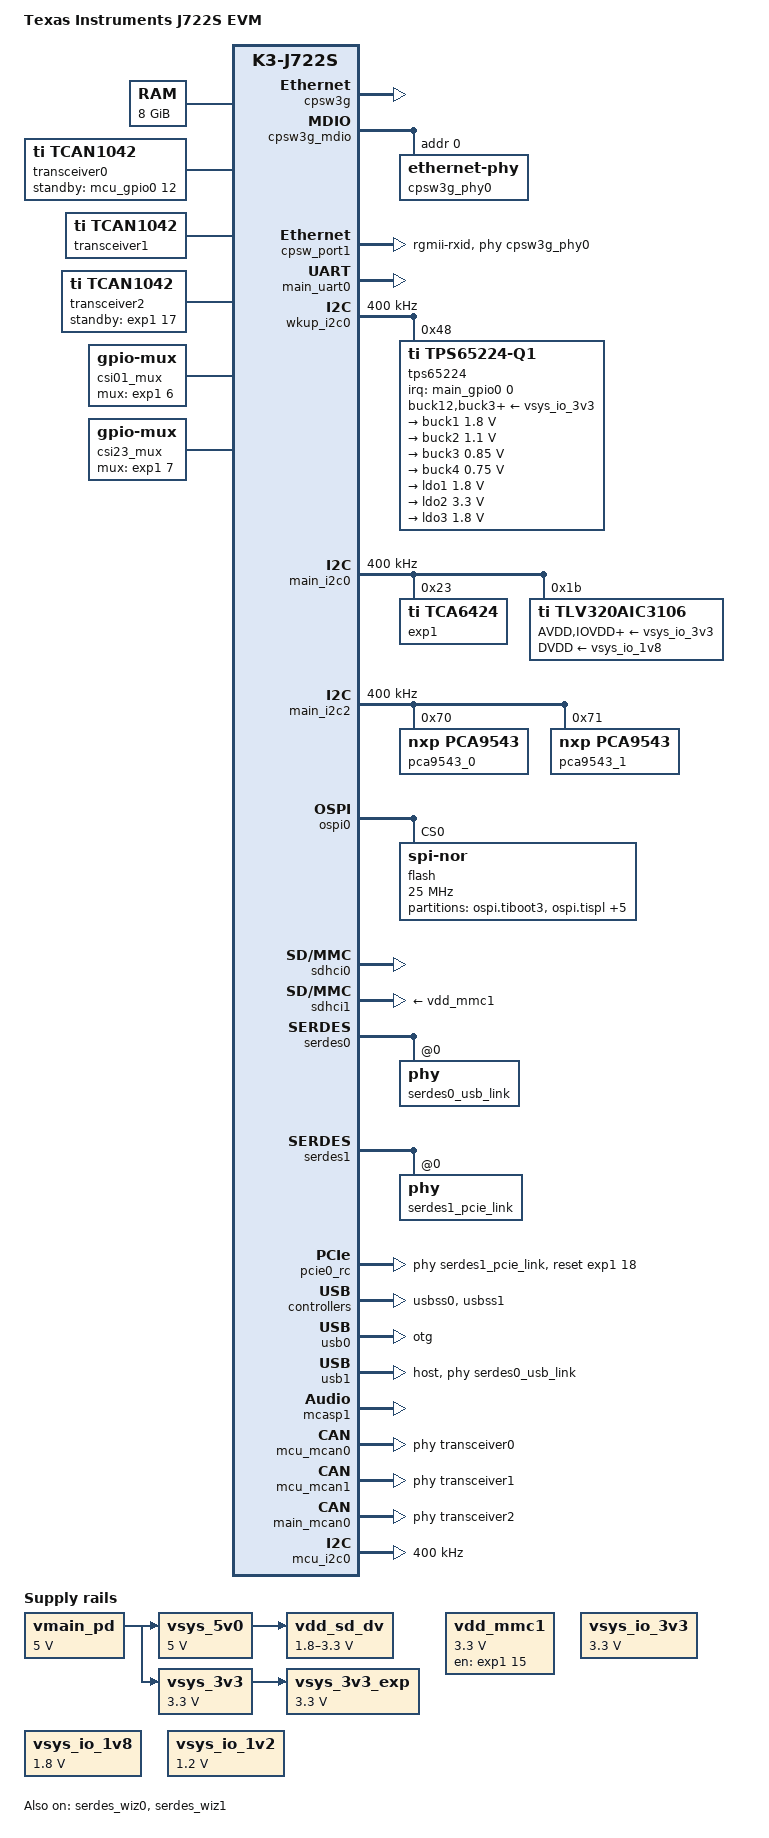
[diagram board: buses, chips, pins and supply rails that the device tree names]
// SPDX-License-Identifier: GPL-2.0-only OR MIT
/*
 * Device Tree file for the J722S EVM
 * Copyright (C) 2024 Texas Instruments Incorporated - https://www.ti.com/
 *
 * Schematics: https://www.ti.com/lit/zip/sprr495
 */

/dts-v1/;

#include <dt-bindings/net/ti-dp83867.h>
#include <dt-bindings/phy/phy.h>
#include "k3-j722s.dtsi"
#include "k3-serdes.h"

/ {
	compatible = "ti,j722s-evm", "ti,j722s";
	model = "Texas Instruments J722S EVM";

	aliases {
		serial0 = &wkup_uart0;
		serial2 = &main_uart0;
		serial3 = &main_uart5;
		mmc0 = &sdhci0;
		mmc1 = &sdhci1;
	};

	chosen {
		stdout-path = &main_uart0;
	};

	memory@80000000 {
		/* 8G RAM */
		reg = <0x00000000 0x80000000 0x00000000 0x80000000>,
		      <0x00000008 0x80000000 0x00000001 0x80000000>;
		device_type = "memory";
		bootph-pre-ram;
	};

	reserved_memory: reserved-memory {
		#address-cells = <2>;
		#size-cells = <2>;
		ranges;

		secure_tfa_ddr: tfa@9e780000 {
			reg = <0x00 0x9e780000 0x00 0x80000>;
			no-map;
		};

		secure_ddr: optee@9e800000 {
			reg = <0x00 0x9e800000 0x00 0x01800000>;
			no-map;
		};

		wkup_r5fss0_core0_dma_memory_region: memory@a0000000 {
			compatible = "shared-dma-pool";
			reg = <0x00 0xa0000000 0x00 0x100000>;
			no-map;
		};

		wkup_r5fss0_core0_memory_region: memory@a0100000 {
			compatible = "shared-dma-pool";
			reg = <0x00 0xa0100000 0x00 0xf00000>;
			no-map;
		};
	};

	vmain_pd: regulator-0 {
		/* TPS65988 PD CONTROLLER OUTPUT */
		compatible = "regulator-fixed";
		regulator-name = "vmain_pd";
		regulator-min-microvolt = <5000000>;
		regulator-max-microvolt = <5000000>;
		regulator-always-on;
		regulator-boot-on;
		bootph-all;
	};

	vsys_5v0: regulator-vsys5v0 {
		/* Output of LM5140 */
		compatible = "regulator-fixed";
		regulator-name = "vsys_5v0";
		regulator-min-microvolt = <5000000>;
		regulator-max-microvolt = <5000000>;
		vin-supply = <&vmain_pd>;
		regulator-always-on;
		regulator-boot-on;
	};

	vsys_3v3: regulator-vsys3v3 {
		/* output of LM5141-Q1 */
		compatible = "regulator-fixed";
		regulator-name = "vsys_3v3";
		regulator-min-microvolt = <3300000>;
		regulator-max-microvolt = <3300000>;
		vin-supply = <&vmain_pd>;
		regulator-always-on;
		regulator-boot-on;
	};

	vdd_mmc1: regulator-mmc1 {
		/* TPS22918DBVR */
		compatible = "regulator-fixed";
		regulator-name = "vdd_mmc1";
		regulator-min-microvolt = <3300000>;
		regulator-max-microvolt = <3300000>;
		regulator-boot-on;
		enable-active-high;
		gpio = <&exp1 15 GPIO_ACTIVE_HIGH>;
		bootph-all;
	};

	vsys_3v3_exp: regulator-TPS22990 {
		/* output of TPS22990 */
		compatible = "regulator-fixed";
		regulator-name = "vsys_3v3_exp";
		regulator-min-microvolt = <3300000>;
		regulator-max-microvolt = <3300000>;
		vin-supply = <&vsys_3v3>;
		regulator-always-on;
		regulator-boot-on;
	};

	vdd_sd_dv: regulator-TLV71033 {
		compatible = "regulator-gpio";
		regulator-name = "tlv71033";
		pinctrl-names = "default";
		pinctrl-0 = <&vdd_sd_dv_pins_default>;
		regulator-min-microvolt = <1800000>;
		regulator-max-microvolt = <3300000>;
		regulator-boot-on;
		vin-supply = <&vsys_5v0>;
		gpios = <&main_gpio0 70 GPIO_ACTIVE_HIGH>;
		states = <1800000 0x0>,
			 <3300000 0x1>;
	};

	vsys_io_3v3: regulator-vsys-io-3v3 {
		compatible = "regulator-fixed";
		regulator-name = "vsys_io_3v3";
		regulator-min-microvolt = <3300000>;
		regulator-max-microvolt = <3300000>;
		regulator-always-on;
		regulator-boot-on;
	};

	vsys_io_1v8: regulator-vsys-io-1v8 {
		compatible = "regulator-fixed";
		regulator-name = "vsys_io_1v8";
		regulator-min-microvolt = <1800000>;
		regulator-max-microvolt = <1800000>;
		regulator-always-on;
		regulator-boot-on;
	};

	vsys_io_1v2: regulator-vsys-io-1v2 {
		compatible = "regulator-fixed";
		regulator-name = "vsys_io_1v2";
		regulator-min-microvolt = <1200000>;
		regulator-max-microvolt = <1200000>;
		regulator-always-on;
		regulator-boot-on;
	};

	codec_audio: sound {
		compatible = "simple-audio-card";
		simple-audio-card,name = "J722S-EVM";
		simple-audio-card,widgets =
			"Headphone",	"Headphone Jack",
			"Line",		"Line In",
			"Microphone",	"Microphone Jack";
		simple-audio-card,routing =
			"Headphone Jack",	"HPLOUT",
			"Headphone Jack",	"HPROUT",
			"LINE1L",		"Line In",
			"LINE1R",		"Line In",
			"MIC3R",		"Microphone Jack",
			"Microphone Jack",	"Mic Bias";
		simple-audio-card,format = "dsp_b";
		simple-audio-card,bitclock-master = <&sound_master>;
		simple-audio-card,frame-master = <&sound_master>;
		simple-audio-card,bitclock-inversion;

		simple-audio-card,cpu {
			sound-dai = <&mcasp1>;
		};

		sound_master: simple-audio-card,codec {
			sound-dai = <&tlv320aic3106>;
			clocks = <&audio_refclk1>;
		};
	};

	transceiver0: can-phy0 {
		compatible = "ti,tcan1042";
		#phy-cells = <0>;
		max-bitrate = <5000000>;
		pinctrl-names = "default";
		pinctrl-0 = <&mcu_mcan0_gpio_pins_default>;
		standby-gpios = <&mcu_gpio0 12 GPIO_ACTIVE_HIGH>;
	};

	transceiver1: can-phy1 {
		compatible = "ti,tcan1042";
		#phy-cells = <0>;
		max-bitrate = <5000000>;
	};

	transceiver2: can-phy2 {
		compatible = "ti,tcan1042";
		#phy-cells = <0>;
		max-bitrate = <5000000>;
		standby-gpios = <&exp1 17 GPIO_ACTIVE_HIGH>;
	};

	csi01_mux: mux-controller-0 {
		compatible = "gpio-mux";
		#mux-state-cells = <1>;
		mux-gpios = <&exp1 6 GPIO_ACTIVE_HIGH>;
		idle-state = <0>;
	};

	csi23_mux: mux-controller-1 {
		compatible = "gpio-mux";
		#mux-state-cells = <1>;
		mux-gpios = <&exp1 7 GPIO_ACTIVE_HIGH>;
		idle-state = <0>;
	};
};

&cpsw_mac_syscon {
	bootph-all;
};

&phy_gmii_sel {
	bootph-all;
};

&main_pmx0 {

	main_mcan0_pins_default: main-mcan0-default-pins {
		pinctrl-single,pins = <
			J722S_IOPAD(0x1dc, PIN_INPUT, 0) /* (C22) MCAN0_RX */
			J722S_IOPAD(0x1d8, PIN_OUTPUT, 0) /*(D22) MCAN0_TX */
		>;
	};

	main_i2c0_pins_default: main-i2c0-default-pins {
		pinctrl-single,pins = <
			J722S_IOPAD(0x01e0, PIN_INPUT_PULLUP, 0) /* (D23) I2C0_SCL */
			J722S_IOPAD(0x01e4, PIN_INPUT_PULLUP, 0) /* (B22) I2C0_SDA */
		>;
		bootph-all;
	};

	main_i2c2_pins_default: main-i2c2-default-pins {
		pinctrl-single,pins = <
			J722S_IOPAD(0x00b0, PIN_INPUT_PULLUP, 1) /* (P22) GPMC0_CSn2.I2C2_SCL */
			J722S_IOPAD(0x00b4, PIN_INPUT_PULLUP, 1) /* (P23) GPMC0_CSn3.I2C2_SDA */
		>;
	};

	main_uart0_pins_default: main-uart0-default-pins {
		pinctrl-single,pins = <
			J722S_IOPAD(0x01c8, PIN_INPUT, 0)	/* (A22) UART0_RXD */
			J722S_IOPAD(0x01cc, PIN_OUTPUT, 0)	/* (B22) UART0_TXD */
		>;
		bootph-all;
	};

	main_uart5_pins_default: main-uart5-default-pins {
		pinctrl-single,pins = <
			J722S_IOPAD(0x0108, PIN_INPUT, 3)       /* (J27) UART5_RXD */
			J722S_IOPAD(0x010c, PIN_OUTPUT, 3)      /* (H27) UART5_TXD */
		>;
	};

	vdd_sd_dv_pins_default: vdd-sd-dv-default-pins {
		pinctrl-single,pins = <
			J722S_IOPAD(0x0120, PIN_INPUT, 7) /* (F27) MMC2_CMD.GPIO0_70 */
		>;
		bootph-all;
	};

	main_mmc1_pins_default: main-mmc1-default-pins {
		pinctrl-single,pins = <
			J722S_IOPAD(0x023c, PIN_INPUT, 0) /* (H22) MMC1_CMD */
			J722S_IOPAD(0x0234, PIN_OUTPUT, 0) /* (H24) MMC1_CLK */
			J722S_IOPAD(0x0230, PIN_INPUT, 0) /* (H23) MMC1_DAT0 */
			J722S_IOPAD(0x022c, PIN_INPUT_PULLUP, 0) /* (H20) MMC1_DAT1 */
			J722S_IOPAD(0x0228, PIN_INPUT_PULLUP, 0) /* (J23) MMC1_DAT2 */
			J722S_IOPAD(0x0224, PIN_INPUT_PULLUP, 0) /* (H25) MMC1_DAT3 */
			J722S_IOPAD(0x0240, PIN_INPUT, 0) /* (B24) MMC1_SDCD */
		>;
		bootph-all;
	};

	mdio_pins_default: mdio-default-pins {
		pinctrl-single,pins = <
			J722S_IOPAD(0x0160, PIN_OUTPUT, 0) /* (AC24) MDIO0_MDC */
			J722S_IOPAD(0x015c, PIN_INPUT, 0) /* (AD25) MDIO0_MDIO */
		>;
		bootph-all;
	};

	ospi0_pins_default: ospi0-default-pins {
		pinctrl-single,pins = <
			J722S_IOPAD(0x0000, PIN_OUTPUT, 0) /* (L24) OSPI0_CLK */
			J722S_IOPAD(0x002c, PIN_OUTPUT, 0) /* (K26) OSPI0_CSn0 */
			J722S_IOPAD(0x000c, PIN_INPUT, 0) /* (K27) OSPI0_D0 */
			J722S_IOPAD(0x0010, PIN_INPUT, 0) /* (L27) OSPI0_D1 */
			J722S_IOPAD(0x0014, PIN_INPUT, 0) /* (L26) OSPI0_D2 */
			J722S_IOPAD(0x0018, PIN_INPUT, 0) /* (L25) OSPI0_D3 */
			J722S_IOPAD(0x001c, PIN_INPUT, 0) /* (L21) OSPI0_D4 */
			J722S_IOPAD(0x0020, PIN_INPUT, 0) /* (M26) OSPI0_D5 */
			J722S_IOPAD(0x0024, PIN_INPUT, 0) /* (N27) OSPI0_D6 */
			J722S_IOPAD(0x0028, PIN_INPUT, 0) /* (M27) OSPI0_D7 */
			J722S_IOPAD(0x0008, PIN_INPUT, 0) /* (L22) OSPI0_DQS */
		>;
		bootph-all;
	};

	rgmii1_pins_default: rgmii1-default-pins {
		pinctrl-single,pins = <
			J722S_IOPAD(0x014c, PIN_INPUT, 0) /* (AC25) RGMII1_RD0 */
			J722S_IOPAD(0x0150, PIN_INPUT, 0) /* (AD27) RGMII1_RD1 */
			J722S_IOPAD(0x0154, PIN_INPUT, 0) /* (AE24) RGMII1_RD2 */
			J722S_IOPAD(0x0158, PIN_INPUT, 0) /* (AE26) RGMII1_RD3 */
			J722S_IOPAD(0x0148, PIN_INPUT, 0) /* (AE27) RGMII1_RXC */
			J722S_IOPAD(0x0144, PIN_INPUT, 0) /* (AD23) RGMII1_RX_CTL */
			J722S_IOPAD(0x0134, PIN_OUTPUT, 0) /* (AF27) RGMII1_TD0 */
			J722S_IOPAD(0x0138, PIN_OUTPUT, 0) /* (AE23) RGMII1_TD1 */
			J722S_IOPAD(0x013c, PIN_OUTPUT, 0) /* (AG25) RGMII1_TD2 */
			J722S_IOPAD(0x0140, PIN_OUTPUT, 0) /* (AF24) RGMII1_TD3 */
			J722S_IOPAD(0x0130, PIN_OUTPUT, 0) /* (AG26) RGMII1_TXC */
			J722S_IOPAD(0x012c, PIN_OUTPUT, 0) /* (AF25) RGMII1_TX_CTL */
		>;
		bootph-all;
	};

	main_usb1_pins_default: main-usb1-default-pins {
		pinctrl-single,pins = <
			J722S_IOPAD(0x0258, PIN_INPUT, 0) /* (B27) USB1_DRVVBUS */
		>;
	};

	main_mcasp1_pins_default: main-mcasp1-default-pins {
		pinctrl-single,pins = <
			J722S_IOPAD(0x0090, PIN_INPUT, 2) /* (P27) GPMC0_BE0n_CLE.MCASP1_ACLKX */
			J722S_IOPAD(0x0098, PIN_INPUT, 2) /* (V21) GPMC0_WAIT0.MCASP1_AFSX */
			J722S_IOPAD(0x008c, PIN_OUTPUT, 2) /* (N23) GPMC0_WEn.MCASP1_AXR0 */
			J722S_IOPAD(0x0084, PIN_INPUT, 2) /* (N21) GPMC0_ADVn_ALE.MCASP1_AXR2 */
		>;
	};

	audio_ext_refclk1_pins_default: audio-ext-refclk1-default-pins {
		pinctrl-single,pins = <
			J722S_IOPAD(0x00a0, PIN_OUTPUT, 1) /* (N24) GPMC0_WPn.AUDIO_EXT_REFCLK1 */
		>;
	};

	pmic_irq_pins_default: pmic-irq-default-pins {
		pinctrl-single,pins = <
			J722S_IOPAD(0x030, PIN_INPUT, 7) /* (K23) GPIO0_12 */
		>;
	};

};

&cpsw3g {
	status = "okay";
	pinctrl-names = "default";
	pinctrl-0 = <&rgmii1_pins_default>;
};

&cpsw3g_mdio {
	status = "okay";
	pinctrl-names = "default";
	pinctrl-0 = <&mdio_pins_default>;

	cpsw3g_phy0: ethernet-phy@0 {
		reg = <0>;
		bootph-all;
		ti,rx-internal-delay = <DP83867_RGMIIDCTL_2_00_NS>;
		ti,fifo-depth = <DP83867_PHYCR_FIFO_DEPTH_4_B_NIB>;
		ti,min-output-impedance;
	};
};

&cpsw_port1 {
	phy-mode = "rgmii-rxid";
	phy-handle = <&cpsw3g_phy0>;
	status = "okay";
	bootph-all;
};

&main_gpio1 {
	status = "okay";
};

&main_uart0 {
	pinctrl-names = "default";
	pinctrl-0 = <&main_uart0_pins_default>;
	status = "okay";
	bootph-all;
};

&main_uart5 {
	/* MAIN UART 5 is used by System firmware */
	pinctrl-names = "default";
	pinctrl-0 = <&main_uart5_pins_default>;
	status = "reserved";
};

&mcu_pmx0 {

	mcu_i2c0_pins_default: mcu-i2c0-default-pins {
		pinctrl-single,pins = <
			J722S_MCU_IOPAD(0x048, PIN_INPUT, 0) /* (E11) MCU_I2C0_SDA */
			J722S_MCU_IOPAD(0x044, PIN_INPUT, 0) /* (B13) MCU_I2C0_SCL */
		>;
	};

	mcu_mcan0_pins_default: mcu-mcan0-default-pins {
		pinctrl-single,pins = <
			J722S_MCU_IOPAD(0x038, PIN_INPUT, 0) /* (D8) MCU_MCAN0_RX */
			J722S_MCU_IOPAD(0x034, PIN_OUTPUT, 0) /* (B2) MCU_MCAN0_TX */
		>;
	};

	mcu_mcan1_pins_default: mcu-mcan1-default-pins {
		pinctrl-single,pins = <
			J722S_MCU_IOPAD(0x040, PIN_INPUT, 0) /* (B1) MCU_MCAN1_RX */
			J722S_MCU_IOPAD(0x03C, PIN_OUTPUT, 0) /*(C1) MCU_MCAN1_TX */
		>;
	};

	mcu_mcan0_gpio_pins_default: mcu-mcan0-gpio-default-pins {
		pinctrl-single,pins = <
			J722S_MCU_IOPAD(0x0030, PIN_OUTPUT, 7) /* (C3) MCU_GPIO0_12 */
		>;
	};

	wkup_uart0_pins_default: wkup-uart0-default-pins {
		pinctrl-single,pins = <
			J722S_MCU_IOPAD(0x02c, PIN_INPUT, 0)	/* (C7) WKUP_UART0_CTSn */
			J722S_MCU_IOPAD(0x030, PIN_OUTPUT, 0)	/* (C6) WKUP_UART0_RTSn */
			J722S_MCU_IOPAD(0x024, PIN_INPUT, 0)	/* (D8) WKUP_UART0_RXD */
			J722S_MCU_IOPAD(0x028, PIN_OUTPUT, 0)	/* (D7) WKUP_UART0_TXD */
		>;
		bootph-all;
	};

	wkup_i2c0_pins_default: wkup-i2c0-default-pins {
		pinctrl-single,pins = <
			J722S_MCU_IOPAD(0x04c, PIN_INPUT_PULLUP, 0)	/* (C7) WKUP_I2C0_SCL */
			J722S_MCU_IOPAD(0x050, PIN_INPUT_PULLUP, 0)	/* (C6) WKUP_I2C1_SDA */
		>;
		bootph-all;
	};
};

&wkup_uart0 {
	/* WKUP UART0 is used by Device Manager firmware */
	pinctrl-names = "default";
	pinctrl-0 = <&wkup_uart0_pins_default>;
	status = "reserved";
	bootph-all;
};

&wkup_i2c0 {
	pinctrl-names = "default";
	pinctrl-0 = <&wkup_i2c0_pins_default>;
	clock-frequency = <400000>;
	status = "okay";
	bootph-all;

	tps65224: pmic@48 {
		compatible = "ti,tps65224-q1";
		reg = <0x48>;
		pinctrl-names = "default";
		pinctrl-0 = <&pmic_irq_pins_default>;
		interrupt-parent = <&main_gpio0>;
		interrupts = <0 IRQ_TYPE_EDGE_FALLING>;
		ti,primary-pmic;

		gpio-controller;
		#gpio-cells = <2>;

		buck12-supply = <&vsys_io_3v3>;
		buck3-supply = <&vsys_io_3v3>;
		buck4-supply = <&vsys_io_3v3>;

		ldo1-supply = <&vsys_io_3v3>;
		ldo2-supply = <&vsys_io_3v3>;
		ldo3-supply = <&vsys_io_3v3>;

		regulators {

			buck1: buck1 {
				regulator-name = "vcc1v8_io_buck1";
				regulator-min-microvolt = <1800000>;
				regulator-max-microvolt = <1800000>;
				regulator-boot-on;
				regulator-always-on;
				bootph-all;
			};

			buck2: buck2 {
				regulator-name = "vcc1v1_ddr_buck2";
				regulator-min-microvolt = <1100000>;
				regulator-max-microvolt = <1100000>;
				regulator-boot-on;
				regulator-always-on;
			};

			buck3: buck3 {
				regulator-name = "vcc0v85_ram_buck3";
				regulator-min-microvolt = <850000>;
				regulator-max-microvolt = <850000>;
				regulator-boot-on;
				regulator-always-on;
			};

			buck4: buck4 {
				regulator-name = "vcc0v75_ioret_buck4";
				regulator-min-microvolt = <750000>;
				regulator-max-microvolt = <750000>;
				regulator-boot-on;
				regulator-always-on;
			};

			ldo1: ldo1 {
				regulator-name = "vdda1v8_pll_ldo1";
				regulator-min-microvolt = <1800000>;
				regulator-max-microvolt = <1800000>;
				regulator-boot-on;
				regulator-always-on;
			};

			ldo2: ldo2 {
				regulator-name = "dvdd3v3_ldo2";
				regulator-min-microvolt = <3300000>;
				regulator-max-microvolt = <3300000>;
				regulator-boot-on;
				regulator-always-on;
			};

			ldo3: ldo3 {
				regulator-name = "vdd1v85_phy_ldo3";
				regulator-min-microvolt = <1800000>;
				regulator-max-microvolt = <1800000>;
				regulator-boot-on;
				regulator-always-on;
			};
	       };
	};
};

&k3_clks {
	/* Configure AUDIO_EXT_REFCLK1 pin as output */
	pinctrl-names = "default";
	pinctrl-0 = <&audio_ext_refclk1_pins_default>;
};

&main_i2c0 {
	pinctrl-names = "default";
	pinctrl-0 = <&main_i2c0_pins_default>;
	clock-frequency = <400000>;
	status = "okay";
	bootph-all;

	exp1: gpio@23 {
		compatible = "ti,tca6424";
		reg = <0x23>;
		gpio-controller;
		#gpio-cells = <2>;
		gpio-line-names = "TRC_MUX_SEL", "OSPI/ONAND_MUX_SEL",
				  "MCASP1_FET_SEL", "CTRL_PM_I2C_OE#",
				  "CSI_VIO_SEL", "USB2.0_MUX_SEL",
				  "CSI01_MUX_SEL_2", "CSI23_MUX_SEL_2",
				  "LMK1_OE1", "LMK1_OE0",
				  "LMK2_OE0", "LMK2_OE1",
				  "GPIO_RGMII1_RST#", "GPIO_AUD_RSTn",
				  "GPIO_eMMC_RSTn", "GPIO_uSD_PWR_EN",
				  "USER_LED2", "MCAN0_STB",
				  "PCIe0_1L_RC_RSTz", "PCIe0_1L_PRSNT#",
				  "ENET1_EXP_SPARE2", "ENET1_EXP_PWRDN",
				  "PD_I2ENET1_I2CMUX_SELC_IRQ", "ENET1_EXP_RESETZ";

		p05-hog {
			/* P05 - USB2.0_MUX_SEL */
			gpio-hog;
			gpios = <5 GPIO_ACTIVE_LOW>;
			output-low;
		};

		p01_hog: p01-hog {
			/* P01 - TRC_MUX_SEL */
			gpio-hog;
			gpios = <0 GPIO_ACTIVE_HIGH>;
			output-low;
			line-name = "TRC_MUX_SEL";
		};

		p02_hog: p02-hog {
			/* P02 - MCASP1_FET_SEL */
			gpio-hog;
			gpios = <2 GPIO_ACTIVE_HIGH>;
			output-high;
			line-name = "MCASP1_FET_SEL";
		};

		p13_hog: p13-hog {
			/* P13 - GPIO_AUD_RSTn */
			gpio-hog;
			gpios = <13 GPIO_ACTIVE_HIGH>;
			output-high;
			line-name = "GPIO_AUD_RSTn";
		};
	};

	tlv320aic3106: audio-codec@1b {
		#sound-dai-cells = <0>;
		compatible = "ti,tlv320aic3106";
		reg = <0x1b>;
		ai3x-micbias-vg = <1>;  /* 2.0V */
		AVDD-supply = <&vsys_io_3v3>;
		IOVDD-supply = <&vsys_io_3v3>;
		DRVDD-supply = <&vsys_io_3v3>;
		DVDD-supply = <&vsys_io_1v8>;
	};
};

&main_i2c2 {
	status = "okay";
	pinctrl-names = "default";
	pinctrl-0 = <&main_i2c2_pins_default>;
	clock-frequency = <400000>;

	pca9543_0: i2c-mux@70 {
		compatible = "nxp,pca9543";
		#address-cells = <1>;
		#size-cells = <0>;
		reg = <0x70>;
	};

	pca9543_1: i2c-mux@71 {
		compatible = "nxp,pca9543";
		#address-cells = <1>;
		#size-cells = <0>;
		reg = <0x71>;
	};
};

&ospi0 {
	pinctrl-names = "default";
	pinctrl-0 = <&ospi0_pins_default>;
	status = "okay";

	flash@0 {
		compatible = "jedec,spi-nor";
		reg = <0x0>;
		spi-tx-bus-width = <8>;
		spi-rx-bus-width = <8>;
		spi-max-frequency = <25000000>;
		cdns,tshsl-ns = <60>;
		cdns,tsd2d-ns = <60>;
		cdns,tchsh-ns = <60>;
		cdns,tslch-ns = <60>;
		cdns,read-delay = <4>;
		bootph-all;

		partitions {
			compatible = "fixed-partitions";
			#address-cells = <1>;
			#size-cells = <1>;

			partition@0 {
				label = "ospi.tiboot3";
				reg = <0x00 0x80000>;
			};

			partition@80000 {
				label = "ospi.tispl";
				reg = <0x80000 0x200000>;
			};

			partition@280000 {
				label = "ospi.u-boot";
				reg = <0x280000 0x400000>;
			};

			partition@680000 {
				label = "ospi.env";
				reg = <0x680000 0x40000>;
			};

			partition@6c0000 {
				label = "ospi.env.backup";
				reg = <0x6c0000 0x40000>;
			};

			partition@800000 {
				label = "ospi.rootfs";
				reg = <0x800000 0x37c0000>;
			};

			partition@3fc0000 {
				label = "ospi.phypattern";
				reg = <0x3fc0000 0x40000>;
			};
		};
	};

};

&sdhci0 {
	disable-wp;
	bootph-all;
	ti,driver-strength-ohm = <50>;
	status = "okay";
};

&sdhci1 {
	/* SD/MMC */
	vmmc-supply = <&vdd_mmc1>;
	vqmmc-supply = <&vdd_sd_dv>;
	pinctrl-names = "default";
	pinctrl-0 = <&main_mmc1_pins_default>;
	ti,driver-strength-ohm = <50>;
	disable-wp;
	status = "okay";
	bootph-all;
};

&serdes_ln_ctrl {
	idle-states = <J722S_SERDES0_LANE0_USB>,
		      <J722S_SERDES1_LANE0_PCIE0_LANE0>;
};

&serdes_wiz0 {
	status = "okay";
};

&serdes0 {
	serdes0_usb_link: phy@0 {
		reg = <0>;
		cdns,num-lanes = <1>;
		#phy-cells = <0>;
		cdns,phy-type = <PHY_TYPE_USB3>;
		resets = <&serdes_wiz0 1>;
	};
};

&serdes_wiz1 {
	status = "okay";
};

&serdes1 {
	serdes1_pcie_link: phy@0 {
		reg = <0>;
		cdns,num-lanes = <1>;
		#phy-cells = <0>;
		cdns,phy-type = <PHY_TYPE_PCIE>;
		resets = <&serdes_wiz1 1>;
	};
};

&pcie0_rc {
	reset-gpios = <&exp1 18 GPIO_ACTIVE_HIGH>;
	phys = <&serdes1_pcie_link>;
	phy-names = "pcie-phy";
	status = "okay";
};

&usbss0 {
	ti,vbus-divider;
	status = "okay";
};

&usb0 {
	dr_mode = "otg";
	usb-role-switch;
};

&usb0_phy_ctrl {
	bootph-all;
};

&usbss1 {
	pinctrl-names = "default";
	pinctrl-0 = <&main_usb1_pins_default>;
	ti,vbus-divider;
	status = "okay";
};

&usb1 {
	dr_mode = "host";
	maximum-speed = "super-speed";
	phys = <&serdes0_usb_link>;
	phy-names = "cdns3,usb3-phy";
};

&mcasp1 {
	status = "okay";
	#sound-dai-cells = <0>;
	pinctrl-names = "default";
	pinctrl-0 = <&main_mcasp1_pins_default>;
	op-mode = <0>; /* MCASP_IIS_MODE */
	tdm-slots = <2>;
	serial-dir = < /* 0: INACTIVE, 1: TX, 2: RX */
	       1 0 2 0
	       0 0 0 0
	       0 0 0 0
	       0 0 0 0
	>;
};

&mcu_mcan0 {
	pinctrl-names = "default";
	pinctrl-0 = <&mcu_mcan0_pins_default>;
	phys = <&transceiver0>;
	status = "okay";
};

&mcu_mcan1 {
	pinctrl-names = "default";
	pinctrl-0 = <&mcu_mcan1_pins_default>;
	phys = <&transceiver1>;
	status = "okay";
};

&main_mcan0 {
	pinctrl-names = "default";
	pinctrl-0 = <&main_mcan0_pins_default>;
	phys = <&transceiver2>;
	status = "okay";
};

&mcu_gpio0 {
	status = "okay";
};

&mcu_i2c0 {
	pinctrl-names = "default";
	pinctrl-0 = <&mcu_i2c0_pins_default>;
	clock-frequency = <400000>;
	status = "okay";
};

#include "k3-j722s-ti-ipc-firmware.dtsi"
